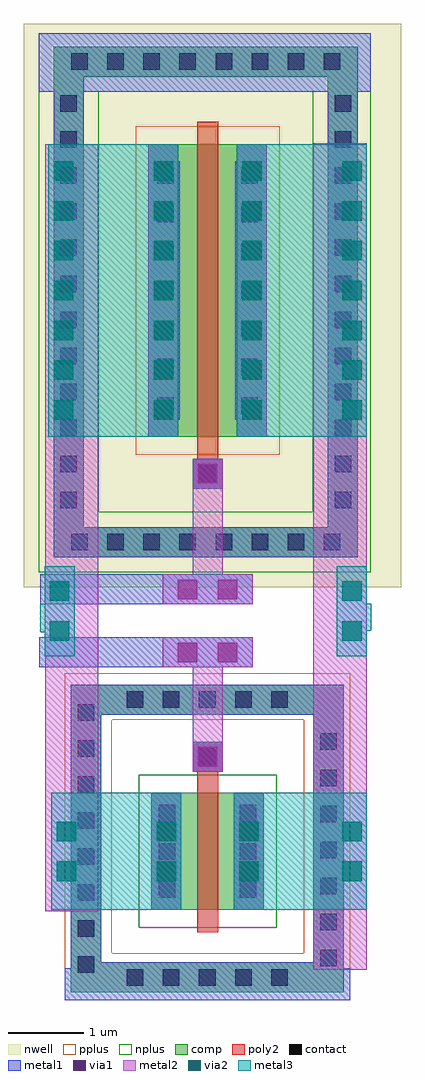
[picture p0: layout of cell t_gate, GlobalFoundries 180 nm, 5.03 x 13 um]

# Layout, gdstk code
import gdstk
lib = gdstk.Library(unit=1e-6, precision=1e-09)
def R(c, l, rs):  # rectangles x0, y0, x1, y1
    for r in rs: c.add(gdstk.rectangle(r[:2], r[2:], *l))
def A(c, l, x, y, w, h, nx, ny, dx, dy):  # array of equal rectangles
    R(c, l, [(x+i*dx, y+j*dy, x+i*dx+w, y+j*dy+h) for i in range(nx) for j in range(ny)])
nwell = (21, 0)
comp = (22, 0)
poly2 = (30, 0)
pplus = (31, 0)
nplus = (32, 0)
contact = (33, 0)
metal1 = (34, 0)
via1 = (35, 0)
metal2 = (36, 0)
via2 = (38, 0)
metal3 = (42, 0)

pfet_3 = lib.new_cell('pfet$3')
R(pfet_3, nwell, [(-0.9,-0.44,1.56,4.34)])
R(pfet_3, comp, [(-0.46,0,0,3.9), (0,0,0.66,3.9), (0.66,0,1.12,3.9)])
R(pfet_3, poly2, [(0.19,-0.3,0.47,4.2), (0.14,4.2,0.52,4.58)])
R(pfet_3, pplus, [(-0.63,-0.24,1.29,4.14)])
A(pfet_3, contact, -0.34, 0.31, 0.22, 0.22, 1, 7, 0, 0.51)
A(pfet_3, contact, 0.78, 0.31, 0.22, 0.22, 1, 7, 0, 0.51)
R(pfet_3, contact, [(0.22,4.28,0.44,4.5)])
R(pfet_3, metal1, [(-0.42,0.23,-0.04,3.67), (0.7,0.23,1.08,3.67), (0.14,4.199,0.52,4.581)])

via_dev_11 = lib.new_cell('via_dev$11')
R(via_dev_11, metal1, [(0,0,1.2,0.4)])
R(via_dev_11, via1, [(0.205,0.07,0.465,0.33), (0.735,0.07,0.995,0.33)])
R(via_dev_11, metal2, [(0,0,1.2,0.4)])

via_dev_9 = lib.new_cell('via_dev$9')
R(via_dev_9, poly2, [(0,0,0.4,0.4)])
R(via_dev_9, contact, [(0.09,0.09,0.31,0.31)])
R(via_dev_9, metal1, [(0,0,0.4,0.4)])
R(via_dev_9, via1, [(0.07,0.07,0.33,0.33)])
R(via_dev_9, metal2, [(0,0,0.4,0.4)])

via_dev_21 = lib.new_cell('via_dev$21')
R(via_dev_21, comp, [(0,0,2.83,0.4)])
A(via_dev_21, contact, 0.345, 0.09, 0.22, 0.22, 5, 1, 0.48, 0)
R(via_dev_21, metal1, [(0,0,2.83,0.4)])

via_dev_23 = lib.new_cell('via_dev$23')
R(via_dev_23, comp, [(0,0,0.4,3.8)])
A(via_dev_23, contact, 0.09, 0.35, 0.22, 0.22, 1, 7, 0, 0.48)
R(via_dev_23, metal1, [(0,0,0.4,3.8)])

via_dev_14 = lib.new_cell('via_dev$14')
R(via_dev_14, comp, [(0,0,0.4,4.1)])
A(via_dev_14, contact, 0.09, 0.26, 0.22, 0.22, 1, 8, 0, 0.48)
R(via_dev_14, metal1, [(0,0,0.4,4.1)])

via_dev_10 = lib.new_cell('via_dev$10')
R(via_dev_10, comp, [(0,0,0.4,6)])
A(via_dev_10, contact, 0.09, 0.25, 0.22, 0.22, 1, 12, 0, 0.48)
R(via_dev_10, metal1, [(0,0,0.4,6)])

via_dev_19 = lib.new_cell('via_dev$19')
R(via_dev_19, comp, [(0,0,4.05,0.4)])
A(via_dev_19, contact, 0.235, 0.09, 0.22, 0.22, 8, 1, 0.48, 0)
R(via_dev_19, metal1, [(0,0,4.05,0.4)])

via_dev_20 = lib.new_cell('via_dev$20')
R(via_dev_20, metal1, [(0,0,0.4,3.9)])
A(via_dev_20, via1, 0.07, 0.23, 0.26, 0.26, 1, 7, 0, 0.53)
R(via_dev_20, metal2, [(0,0,0.4,3.9)])
A(via_dev_20, via2, 0.07, 0.23, 0.26, 0.26, 1, 7, 0, 0.53)
R(via_dev_20, metal3, [(0,0,0.4,3.9)])

via_dev_18 = lib.new_cell('via_dev$18')
R(via_dev_18, metal2, [(0,0,0.4,1.56)])
R(via_dev_18, via2, [(0.07,0.385,0.33,0.645), (0.07,0.915,0.33,1.175)])
R(via_dev_18, metal3, [(0,0,0.4,1.56)])

nfet_2 = lib.new_cell('nfet$2')
R(nfet_2, comp, [(-0.42,0,0,1.56), (0,0,0.66,1.56), (0.66,0,1.08,1.56)])
R(nfet_2, poly2, [(0.19,-0.3,0.47,1.86), (0.15,1.86,0.51,2.22)])
R(nfet_2, nplus, [(-0.59,-0.24,1.25,1.8)])
A(nfet_2, contact, -0.32, 0.16, 0.22, 0.22, 1, 3, 0, 0.51)
A(nfet_2, contact, 0.76, 0.16, 0.22, 0.22, 1, 3, 0, 0.51)
R(nfet_2, contact, [(0.22,1.93,0.44,2.15)])
R(nfet_2, metal1, [(-0.4,0.08,-0.02,1.48), (0.68,0.08,1.06,1.48), (0.14,1.849,0.52,2.231)])

via_dev_22 = lib.new_cell('via_dev$22')
R(via_dev_22, metal2, [(0,0,0.4,3.9)])
A(via_dev_22, via2, 0.07, 0.23, 0.26, 0.26, 1, 7, 0, 0.53)
R(via_dev_22, metal3, [(0,0,0.4,3.9)])

via_dev_17 = lib.new_cell('via_dev$17')
R(via_dev_17, metal1, [(0,0,0.4,1.56)])
R(via_dev_17, via1, [(0.07,0.385,0.33,0.645), (0.07,0.915,0.33,1.175)])
R(via_dev_17, metal2, [(0,0,0.4,1.56)])
R(via_dev_17, via2, [(0.07,0.385,0.33,0.645), (0.07,0.915,0.33,1.175)])
R(via_dev_17, metal3, [(0,0,0.4,1.56)])

via_dev_24 = lib.new_cell('via_dev$24')
R(via_dev_24, metal2, [(0,0,0.4,1.2)])
R(via_dev_24, via2, [(0.07,0.205,0.33,0.465), (0.07,0.735,0.33,0.995)])
R(via_dev_24, metal3, [(0,0,0.4,1.2)])

t_gate = lib.new_cell('t_gate')
R(t_gate, nwell, [(-2,-1.2,3.03,6.3)])
R(t_gate, comp, [(1.86,-2.8,2.26,-2.5)])
R(t_gate, pplus, [(-1.45,-6.7,-0.83,-2.35), (-1.45,-6.7,1.73,-6.08), (1.73,-6.7,2.35,-2.35), (-1.45,-2.97,1.83,-2.35)])
R(t_gate, nplus, [(-1.8,-1,2.62,-0.2), (-1.8,-0.85,-1,6.05), (1.85,-0.85,2.62,6.1), (-1.8,5.4,2.62,6.18)])
R(t_gate, metal1, [(-1.45,-6.7,2.35,-6.28), (1.86,-2.8,2.26,-2.5), (-1.79,-2.27,-0.09,-1.87), (-1.78,-1.43,-0.11,-1.03), (-1.8,5.4,2.62,6.18)])
R(t_gate, metal2, [(1.86,-6.3,2.57,4.71), (-1.715,-5.515,-1.005,4.695), (0.25,-3.6,0.65,-2), (0.25,-1.32,0.65,0.51)])
R(t_gate, metal3, [(-1.63,-5.5,-0.3,-3.94), (0.8,-5.5,2.4,-3.94), (-1.78,-1.8,-1.32,-1.42), (2.17,-1.78,2.63,-1.42), (-1.67,0.8,-0.34,4.7), (1.24,0.8,2.57,4.7)])
t_gate.add(gdstk.Reference(pfet_3, (0.12,4.7), x_reflection=True))
t_gate.add(gdstk.Reference(via_dev_11, (-0.15,-2.27)))
t_gate.add(gdstk.Reference(via_dev_9, (0.25,0.11)))
t_gate.add(gdstk.Reference(via_dev_21, (-0.97,-6.6)))
t_gate.add(gdstk.Reference(via_dev_23, (1.86,-6.6)))
t_gate.add(gdstk.Reference(via_dev_14, (-1.37,-6.6)))
t_gate.add(gdstk.Reference(via_dev_10, (-1.6,-0.4)))
t_gate.add(gdstk.Reference(via_dev_9, (0.25,-3.66)))
t_gate.add(gdstk.Reference(via_dev_10, (2.05,-0.4)))
t_gate.add(gdstk.Reference(via_dev_19, (-1.6,5.6)))
t_gate.add(gdstk.Reference(via_dev_19, (-1.6,-0.8)))
t_gate.add(gdstk.Reference(via_dev_20, (-0.34,0.8)))
t_gate.add(gdstk.Reference(via_dev_21, (-0.97,-2.9)))
t_gate.add(gdstk.Reference(via_dev_20, (0.84,0.8)))
t_gate.add(gdstk.Reference(via_dev_18, (2.17,-5.5)))
t_gate.add(gdstk.Reference(nfet_2, (0.12,-5.5)))
t_gate.add(gdstk.Reference(via_dev_22, (-1.67,0.8)))
t_gate.add(gdstk.Reference(via_dev_18, (-1.63,-5.5)))
t_gate.add(gdstk.Reference(via_dev_17, (0.8,-5.5)))
t_gate.add(gdstk.Reference(via_dev_22, (2.17,0.8)))
t_gate.add(gdstk.Reference(via_dev_17, (-0.3,-5.5)))
t_gate.add(gdstk.Reference(via_dev_11, (-0.15,-1.43)))
t_gate.add(gdstk.Reference(via_dev_24, (-1.72,-2.12)))
t_gate.add(gdstk.Reference(via_dev_24, (2.17,-2.12)))

lib.write_gds('t_gate.gds')
